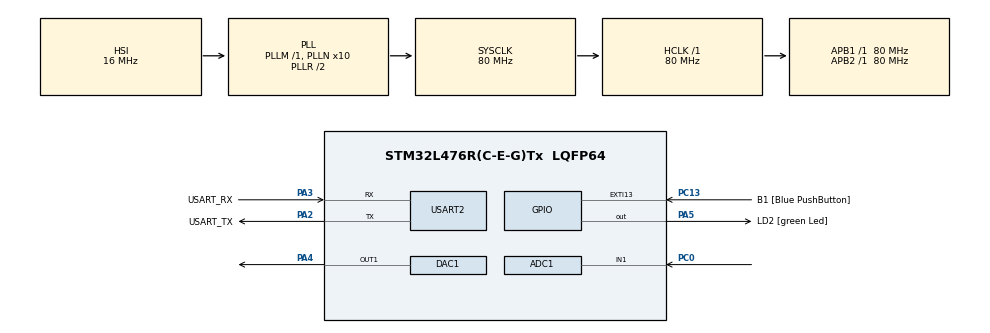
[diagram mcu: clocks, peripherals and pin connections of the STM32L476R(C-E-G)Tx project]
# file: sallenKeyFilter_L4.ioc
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ADC1.Channel-0\#ChannelRegularConversion=ADC_CHANNEL_1
ADC1.NbrOfConversion=1
ADC1.NbrOfConversionFlag=1
ADC1.OffsetNumber-0\#ChannelRegularConversion=ADC_OFFSET_NONE
ADC1.Rank-0\#ChannelRegularConversion=1
ADC1.SamplingTime-0\#ChannelRegularConversion=ADC_SAMPLETIME_2CYCLES_5
ADC1.master=1
Mcu.Family=STM32L4
Mcu.Name=STM32L476R(C-E-G)Tx
Mcu.Package=LQFP64
NVIC.ADC1_2_IRQn=true\:0\:0\:false\:false\:true\:true\:true\:true
NVIC.PriorityGroup=NVIC_PRIORITYGROUP_4
NVIC.TIM3_IRQn=true\:0\:0\:false\:false\:true\:true\:true\:true
NVIC.USART2_IRQn=true\:0\:0\:false\:false\:true\:true\:true\:true
PA13\ (JTMS-SWDIO).GPIO_Label=TMS
PA13\ (JTMS-SWDIO).Mode=Serial_Wire
PA13\ (JTMS-SWDIO).Signal=SYS_JTMS-SWDIO
PA14\ (JTCK-SWCLK).GPIO_Label=TCK
PA14\ (JTCK-SWCLK).Mode=Serial_Wire
PA14\ (JTCK-SWCLK).Signal=SYS_JTCK-SWCLK
PA2.GPIO_Label=USART_TX
PA2.GPIO_Mode=GPIO_MODE_AF_PP
PA2.GPIO_PuPd=GPIO_NOPULL
PA2.GPIO_Speed=GPIO_SPEED_FREQ_VERY_HIGH
PA2.Mode=Asynchronous
PA2.Signal=USART2_TX
PA3.GPIO_Label=USART_RX
PA3.GPIO_Mode=GPIO_MODE_AF_PP
PA3.GPIO_PuPd=GPIO_NOPULL
PA3.GPIO_Speed=GPIO_SPEED_FREQ_VERY_HIGH
PA3.Mode=Asynchronous
PA3.Signal=USART2_RX
PA4.Signal=COMP_DAC11_group
PA5.GPIO_Label=LD2 [green Led]
PA5.GPIO_ModeDefaultOutputPP=GPIO_MODE_OUTPUT_PP
PA5.GPIO_PuPd=GPIO_NOPULL
PA5.GPIO_Speed=GPIO_SPEED_FREQ_LOW
PA5.Signal=GPIO_Output
PB3\ (JTDO-TRACESWO).GPIO_Label=SWO
PB3\ (JTDO-TRACESWO).Signal=SYS_JTDO-SWO
PC0.Signal=ADCx_IN1
PC13.GPIO_Label=B1 [Blue PushButton]
PC13.GPIO_ModeDefaultEXTI=GPIO_MODE_IT_FALLING
PC13.GPIO_PuPd=GPIO_NOPULL
PC13.Signal=GPXTI13
PC14-OSC32_IN\ (PC14).Mode=LSE-External-Oscillator
PC14-OSC32_IN\ (PC14).Signal=RCC_OSC32_IN
PC15-OSC32_OUT\ (PC15).Mode=LSE-External-Oscillator
PC15-OSC32_OUT\ (PC15).Signal=RCC_OSC32_OUT
PH0-OSC_IN\ (PH0).Signal=RCC_OSC_IN
PH1-OSC_OUT\ (PH1).Signal=RCC_OSC_OUT
ProjectManager.HeapSize=0x200
ProjectManager.StackSize=0x400
ProjectManager.TargetToolchain=STM32CubeIDE
RCC.ADCFreq_Value=64000000
RCC.AHBFreq_Value=80000000
RCC.APB1Freq_Value=80000000
RCC.APB1TimFreq_Value=80000000
RCC.APB2Freq_Value=80000000
RCC.APB2TimFreq_Value=80000000
RCC.CortexFreq_Value=80000000
RCC.HCLKFreq_Value=80000000
RCC.HSE_VALUE=8000000
RCC.HSI_VALUE=16000000
RCC.MSI_VALUE=4000000
RCC.PLLN=10
RCC.PLLSourceVirtual=RCC_PLLSOURCE_HSI
RCC.PREFETCH_ENABLE=1
RCC.SYSCLKFreq_VALUE=80000000
RCC.SYSCLKSource=RCC_SYSCLKSOURCE_PLLCLK
RCC.USBFreq_Value=64000000
RCC.VCOOutputFreq_Value=160000000
SH.ADCx_IN1.0=ADC1_IN1,IN1-Single-Ended
SH.COMP_DAC11_group.0=DAC1_OUT1,DAC_OUT1
TIM3.Channel-Output\ Compare1\ No\ Output=TIM_CHANNEL_1
USART2.VirtualMode-Asynchronous=VM_ASYNC
VP_TIM3_VS_no_output1.Mode=Output Compare1 No Output
board=NUCLEO-L476RG

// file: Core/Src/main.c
/* USER CODE BEGIN Header */
/**
 ******************************************************************************
 * @file           : main.c
 * @brief          : Main program body
 ******************************************************************************
 * @attention
 *
 * Copyright (c) 2023 STMicroelectronics.
 * All rights reserved.
 *
 * This software is licensed under terms that can be found in the LICENSE file
 * in the root directory of this software component.
 * If no LICENSE file comes with this software, it is provided AS-IS.
 *
 ******************************************************************************
 */
/* USER CODE END Header */
#include "main.h"
#include "math.h"
#include "string.h"
#include "stdio.h"
#include "arm_math.h"
#include "arm_const_structs.h"

ADC_HandleTypeDef hadc1;

DAC_HandleTypeDef hdac1;

TIM_HandleTypeDef htim3;

UART_HandleTypeDef huart2;

void SystemClock_Config(void);
static void MX_GPIO_Init(void);
static void MX_USART2_UART_Init(void);
static void MX_ADC1_Init(void);
static void MX_DAC1_Init(void);
static void MX_TIM3_Init(void);

/* USER CODE BEGIN 0 */

/*------------------------------------------------------------------------------

	N (Bins) = FFT Size/2

    FR = Fmax/N(Bins)

	For a 44100 sampling rate, we have a 22050 Hz band. With a 1024 FFT size,
	we divide this band into 512 bins.

	FR = 22050/1024 ≃ 21,53 Hz.
 -------------------------------------------------------------------------------*/

// Private define --------------------------------------------------------------
#define SAMPLE_SIZE 2048 // Tamanho da amostra do sinal (potência de 2)
#define FFT_SIZE (SAMPLE_SIZE / 2) // Tamanho da FFT. N_BINS
#define HANNING_COEFF		0.5f
#define HANN_KF_ACC			(2 * PI / (FFT_SIZE - 1))
#define FS 40000.0f						// Frequẽncia de amostragem
#define FC 15000.0f						// Frequeência de corte

// Private variables -----------------------------------------------------------
float32_t input_signal[SAMPLE_SIZE];	//sinal de entrada lido pelo AD
float32_t output_signal[FFT_SIZE];		//Sinal de saída da FFT
float32_t fft_power[FFT_SIZE];			// Valor absoluto da FFT
uint32_t ifftFlag = 0; 					// 0 Real FFT RFFT; 1 Real Inversa RIFFT
uint32_t doBitReverse = 1;
arm_rfft_fast_instance_f32 fft;

arm_cfft_radix4_instance_f32 S;	/* ARM CFFT module */

/* Reference index at which max energy of bin ocuurs */
uint32_t testIndex = 0;					// Index de posição do BIN de máxima energia
float32_t maxValue;						// Valor do BIN de máxima energia

volatile uint32_t g_ADCValue, g_DACValue;	// Váriaveis de armazenamento dos valores do ADC DAC
char buffer[10];							// Buffer de recepção da UART

/* Variáveis para aplicação do filtro SallenKey Segundo Ordem*/
float tanres = 0;
float32_t C = 0;
float32_t zeta = 0;
float32_t b0 = 0;
float32_t b1 = 0;
float32_t b2 = 0;
float32_t a0 = 0;
float32_t a1 = 0;
float32_t a2 = 0;
float32_t xh1 = 0;
float32_t xh2 = 0;
float32_t yh1 = 0;
float32_t yh2 = 0;
float32_t x,y = {0};

// Private function prototypes -------------------------------------------------
float HanningWindow(uint32_t u32Sample);
void FFTCalc(void);

/* USER CODE END 0 */

int main(void)
{

	/* MCU Configuration--------------------------------------------------------*/

	/* Reset of all peripherals, Initializes the Flash interface and the Systick. */
	HAL_Init();

	/* Configure the system clock */
	SystemClock_Config();

	/* Initialize all configured peripherals */
	MX_GPIO_Init();

	MX_ADC1_Init();
	MX_DAC1_Init();
	MX_TIM3_Init();
	MX_USART2_UART_Init();
	/* USER CODE BEGIN 2 */

	tanres = tanf(M_PI  * FC / FS);

	C = 1/tanres;
	zeta = 0.707;

	b0 = 1/(1+2*zeta*C+C*C);
	b1 = 2*b0;
	b2 = b0;

	a0 = 1;
	a1 = 2*b0*(1-C*C);
	a2 = b0 * (1-2*zeta*C+C*C);

	xh1 = 0;
	xh2 = 0;
	yh1 = 0;
	yh2 = 0;

	//	arm_rfft_fast_init_f32(&fft, SAMPLE_SIZE);

	HAL_UART_Receive_IT(&huart2, (uint8_t*)buffer, 1);  //Inicia o recebimento da UART
	HAL_TIM_Base_Start_IT(&htim3);						//Inicia o timer
	HAL_DAC_Start(&hdac1, DAC_CHANNEL_1);				//Inicia o DAC
	/* USER CODE END 2 */

	/* Infinite loop */
	while (1)
	{
	}
}

void SystemClock_Config(void)
{
	RCC_OscInitTypeDef RCC_OscInitStruct = {0};
	RCC_ClkInitTypeDef RCC_ClkInitStruct = {0};

	/** Configure the main internal regulator output voltage
	 */
	if (HAL_PWREx_ControlVoltageScaling(PWR_REGULATOR_VOLTAGE_SCALE1) != HAL_OK)
	{
		Error_Handler();
	}

	/** Initializes the RCC Oscillators according to the specified parameters
	 * in the RCC_OscInitTypeDef structure.
	 */
	RCC_OscInitStruct.OscillatorType = RCC_OSCILLATORTYPE_HSI;
	RCC_OscInitStruct.HSIState = RCC_HSI_ON;
	RCC_OscInitStruct.HSICalibrationValue = RCC_HSICALIBRATION_DEFAULT;
	RCC_OscInitStruct.PLL.PLLState = RCC_PLL_ON;
	RCC_OscInitStruct.PLL.PLLSource = RCC_PLLSOURCE_HSI;
	RCC_OscInitStruct.PLL.PLLM = 1;
	RCC_OscInitStruct.PLL.PLLN = 10;
	RCC_OscInitStruct.PLL.PLLP = RCC_PLLP_DIV7;
	RCC_OscInitStruct.PLL.PLLQ = RCC_PLLQ_DIV2;
	RCC_OscInitStruct.PLL.PLLR = RCC_PLLR_DIV2;
	if (HAL_RCC_OscConfig(&RCC_OscInitStruct) != HAL_OK)
	{
		Error_Handler();
	}

	/** Initializes the CPU, AHB and APB buses clocks
	 */
	RCC_ClkInitStruct.ClockType = RCC_CLOCKTYPE_HCLK|RCC_CLOCKTYPE_SYSCLK
			|RCC_CLOCKTYPE_PCLK1|RCC_CLOCKTYPE_PCLK2;
	RCC_ClkInitStruct.SYSCLKSource = RCC_SYSCLKSOURCE_PLLCLK;
	RCC_ClkInitStruct.AHBCLKDivider = RCC_SYSCLK_DIV1;
	RCC_ClkInitStruct.APB1CLKDivider = RCC_HCLK_DIV1;
	RCC_ClkInitStruct.APB2CLKDivider = RCC_HCLK_DIV1;

	if (HAL_RCC_ClockConfig(&RCC_ClkInitStruct, FLASH_LATENCY_4) != HAL_OK)
	{
		Error_Handler();
	}
}

static void MX_ADC1_Init(void)
{

	ADC_MultiModeTypeDef multimode = {0};
	ADC_ChannelConfTypeDef sConfig = {0};

	/** Common config
	 */
	hadc1.Instance = ADC1;
	hadc1.Init.ClockPrescaler = ADC_CLOCK_ASYNC_DIV1;
	hadc1.Init.Resolution = ADC_RESOLUTION_12B;
	hadc1.Init.DataAlign = ADC_DATAALIGN_RIGHT;
	hadc1.Init.ScanConvMode = ADC_SCAN_DISABLE;
	hadc1.Init.EOCSelection = ADC_EOC_SINGLE_CONV;
	hadc1.Init.LowPowerAutoWait = DISABLE;
	hadc1.Init.ContinuousConvMode = DISABLE;
	hadc1.Init.NbrOfConversion = 1;
	hadc1.Init.DiscontinuousConvMode = DISABLE;
	hadc1.Init.ExternalTrigConv = ADC_SOFTWARE_START;
	hadc1.Init.ExternalTrigConvEdge = ADC_EXTERNALTRIGCONVEDGE_NONE;
	hadc1.Init.DMAContinuousRequests = DISABLE;
	hadc1.Init.Overrun = ADC_OVR_DATA_PRESERVED;
	hadc1.Init.OversamplingMode = DISABLE;
	if (HAL_ADC_Init(&hadc1) != HAL_OK)
	{
		Error_Handler();
	}

	/** Configure the ADC multi-mode
	 */
	multimode.Mode = ADC_MODE_INDEPENDENT;
	if (HAL_ADCEx_MultiModeConfigChannel(&hadc1, &multimode) != HAL_OK)
	{
		Error_Handler();
	}

	/** Configure Regular Channel
	 */
	sConfig.Channel = ADC_CHANNEL_1;
	sConfig.Rank = ADC_REGULAR_RANK_1;
	sConfig.SamplingTime = ADC_SAMPLETIME_2CYCLES_5;
	sConfig.SingleDiff = ADC_SINGLE_ENDED;
	sConfig.OffsetNumber = ADC_OFFSET_NONE;
	sConfig.Offset = 0;
	if (HAL_ADC_ConfigChannel(&hadc1, &sConfig) != HAL_OK)
	{
		Error_Handler();
	}

}

static void MX_DAC1_Init(void)
{

	DAC_ChannelConfTypeDef sConfig = {0};

	/** DAC Initialization
	 */
	hdac1.Instance = DAC1;
	if (HAL_DAC_Init(&hdac1) != HAL_OK)
	{
		Error_Handler();
	}

	/** DAC channel OUT1 config
	 */
	sConfig.DAC_SampleAndHold = DAC_SAMPLEANDHOLD_DISABLE;
	sConfig.DAC_Trigger = DAC_TRIGGER_NONE;
	sConfig.DAC_OutputBuffer = DAC_OUTPUTBUFFER_ENABLE;
	sConfig.DAC_ConnectOnChipPeripheral = DAC_CHIPCONNECT_DISABLE;
	sConfig.DAC_UserTrimming = DAC_TRIMMING_FACTORY;
	if (HAL_DAC_ConfigChannel(&hdac1, &sConfig, DAC_CHANNEL_1) != HAL_OK)
	{
		Error_Handler();
	}

}

static void MX_TIM3_Init(void)
{

	TIM_MasterConfigTypeDef sMasterConfig = {0};
	TIM_OC_InitTypeDef sConfigOC = {0};

	/* USER CODE BEGIN TIM3_Init 1 */
	uint32_t uwTimclock = 0;
	uint32_t uwPrescalerValue = 0;
	uint32_t periodValue = 0;

	/* Compute TIM1 clock */
	uwTimclock = HAL_RCC_GetPCLK2Freq();

	/* Compute the prescaler value to have TIM1 counter clock equal to 1MHz */
	uwPrescalerValue = (uint32_t) ((uwTimclock / 1000000) - 1);
	periodValue = (uint32_t) ((1000000 / FS) - 1);

	/* USER CODE END TIM3_Init 1 */
	htim3.Instance = TIM3;
	htim3.Init.Prescaler = uwPrescalerValue;
	htim3.Init.CounterMode = TIM_COUNTERMODE_UP;
	htim3.Init.Period = periodValue;
	htim3.Init.ClockDivision = TIM_CLOCKDIVISION_DIV1;
	htim3.Init.AutoReloadPreload = TIM_AUTORELOAD_PRELOAD_DISABLE;
	if (HAL_TIM_OC_Init(&htim3) != HAL_OK)
	{
		Error_Handler();
	}
	sMasterConfig.MasterOutputTrigger = TIM_TRGO_RESET;
	sMasterConfig.MasterSlaveMode = TIM_MASTERSLAVEMODE_DISABLE;
	if (HAL_TIMEx_MasterConfigSynchronization(&htim3, &sMasterConfig) != HAL_OK)
	{
		Error_Handler();
	}
	sConfigOC.OCMode = TIM_OCMODE_TIMING;
	sConfigOC.Pulse = 0;
	sConfigOC.OCPolarity = TIM_OCPOLARITY_HIGH;
	sConfigOC.OCFastMode = TIM_OCFAST_DISABLE;
	if (HAL_TIM_OC_ConfigChannel(&htim3, &sConfigOC, TIM_CHANNEL_1) != HAL_OK)
	{
		Error_Handler();
	}

}

static void MX_USART2_UART_Init(void)
{

	huart2.Instance = USART2;
	huart2.Init.BaudRate = 115200;
	huart2.Init.WordLength = UART_WORDLENGTH_8B;
	huart2.Init.StopBits = UART_STOPBITS_1;
	huart2.Init.Parity = UART_PARITY_NONE;
	huart2.Init.Mode = UART_MODE_TX_RX;
	huart2.Init.HwFlowCtl = UART_HWCONTROL_NONE;
	huart2.Init.OverSampling = UART_OVERSAMPLING_16;
	huart2.Init.OneBitSampling = UART_ONE_BIT_SAMPLE_DISABLE;
	huart2.AdvancedInit.AdvFeatureInit = UART_ADVFEATURE_NO_INIT;
	if (HAL_UART_Init(&huart2) != HAL_OK)
	{
		Error_Handler();
	}

}

static void MX_GPIO_Init(void)
{
	GPIO_InitTypeDef GPIO_InitStruct = {0};

	/* GPIO Ports Clock Enable */
	__HAL_RCC_GPIOC_CLK_ENABLE();
	__HAL_RCC_GPIOH_CLK_ENABLE();
	__HAL_RCC_GPIOA_CLK_ENABLE();
	__HAL_RCC_GPIOB_CLK_ENABLE();

	/*Configure GPIO pin Output Level */
	HAL_GPIO_WritePin(LD2_GPIO_Port, LD2_Pin, GPIO_PIN_RESET);

	/*Configure GPIO pin : B1_Pin */
	GPIO_InitStruct.Pin = B1_Pin;
	GPIO_InitStruct.Mode = GPIO_MODE_IT_FALLING;
	GPIO_InitStruct.Pull = GPIO_NOPULL;
	HAL_GPIO_Init(B1_GPIO_Port, &GPIO_InitStruct);

	/*Configure GPIO pin : LD2_Pin */
	GPIO_InitStruct.Pin = LD2_Pin;
	GPIO_InitStruct.Mode = GPIO_MODE_OUTPUT_PP;
	GPIO_InitStruct.Pull = GPIO_NOPULL;
	GPIO_InitStruct.Speed = GPIO_SPEED_FREQ_LOW;
	HAL_GPIO_Init(LD2_GPIO_Port, &GPIO_InitStruct);

}

/* USER CODE BEGIN 4 */
void HAL_TIM_PeriodElapsedCallback(TIM_HandleTypeDef *htim)
{
	HAL_ADC_Start_IT(&hadc1);
}
void HAL_ADC_ConvCpltCallback(ADC_HandleTypeDef* hadc)
{
	HAL_GPIO_TogglePin(GPIOA, GPIO_PIN_5);
	g_ADCValue = HAL_ADC_GetValue(&hadc1);
	x = g_ADCValue;

	y = b0 * x + b1 * xh1 + b2 * xh2 - a1 * yh1 - a2 * yh2;
	yh2 = yh1;
	yh1 = y;
	xh2 = xh1;
	xh1 = x;

	HAL_DAC_SetValue(&hdac1, DAC_CHANNEL_1,DAC_ALIGN_12B_R,(uint16_t)y);

	//Converter o valor para ponto flutuante e normalizar para [-1, 1]
	float32_t sample = ((float32_t)g_ADCValue * (3.3f/4096.0f)) - 1.5f; //variação de -1.5V até + 1,5V

	// Adicionar a amostra ao vetor de entrada
	static uint16_t index = 0;
	input_signal[index] = sample;
	index++;
	//Se o vetor de entrada estiver completo, zera o index
	if (index >= SAMPLE_SIZE)
		index = 0;
}
// *****************************************************************************
/// @brief		Janela de Hanning
/// @fn			float HanningWindow(u32 u32Sample)
/// @param[in]	u32Sample			@brief Amostra
/// @retval		Amostra corrigida
// *****************************************************************************
float HanningWindow(uint32_t u32Sample)
{
	return (HANNING_COEFF * (1.0f - arm_cos_f32(HANN_KF_ACC * u32Sample)));
}
// *****************************************************************************
/// @brief		Calculo da FFT
/// @fn			void FFTCalc(void)
/// @param[in]
/// @retval
// *****************************************************************************
void FFTCalc(void)
{
//	for (int n = 0; n < SAMPLE_SIZE; n += 2)
//		input_signal[n] *= HanningWindow(n);

	/* Initialize the CFFT/CIFFT module, intFlag = 0, doBitReverse = 1 */
	arm_cfft_radix4_init_f32(&S, FFT_SIZE, 0, 1);

	/* Process the data through the CFFT/CIFFT module */
	arm_cfft_radix4_f32(&S, input_signal);

	/* Process the data through the Complex Magniture Module for calculating the magnitude at each bin */
	arm_cmplx_mag_f32(input_signal, fft_power, FFT_SIZE);

	/* Calculates maxValue and returns corresponding value */
	arm_max_f32(fft_power, FFT_SIZE, &maxValue, &testIndex);

//	arm_rfft_fast_init_f32(&fft, FFT_SIZE);
//	arm_rfft_fast_f32(&fft, input_signal, output_signal, ifftFlag);
//	arm_cmplx_mag_f32(output_signal, fft_power, FFT_SIZE);
//	/* Calculates maxValue and returns corresponding BIN value */
//		arm_max_f32(output_signal, FFT_SIZE, &maxValue, &testIndex);
}
void HAL_UART_RxCpltCallback(UART_HandleTypeDef *huart)
{

	if(huart->Instance == USART2)
	{
		int i;
		uint8_t u8data[10];
		uint8_t u8size = 0;
		if(buffer[0]== 'I')
		{
			for(i = 0; i < SAMPLE_SIZE - 1; i++ )
			{
				u8size = sprintf((char*)u8data,"%.4f, ",input_signal[i]);
				HAL_UART_Transmit(&huart2, u8data, u8size,10);
			}
			u8size = sprintf((char*)u8data,"%.4f",input_signal[i]);
			HAL_UART_Transmit(&huart2, u8data, u8size,10);
			HAL_UART_Transmit(&huart2, (uint8_t*)"\r\n", 2,10);
		}
		else if (buffer[0]== 'O')
		{
			FFTCalc();
			for(i = 0; i < FFT_SIZE - 1; i++ )
			{
				u8size = sprintf((char*)u8data,"%.4f, ",fft_power[i]);
				HAL_UART_Transmit(&huart2, u8data, u8size,10);
			}
			u8size = sprintf((char*)u8data,"%.4f",fft_power[i]);
			HAL_UART_Transmit(&huart2, u8data, u8size,10);
			HAL_UART_Transmit(&huart2, (uint8_t*)"\r\n", 2,10);
		}
		else if (buffer[0]== 'C')
		{
			u8size = sprintf((char*)u8data,"%ld\r\n",(uint32_t)FC);
			HAL_UART_Transmit(&huart2, u8data, u8size,10);
		}
		else if (buffer[0]== 'S')
		{
			u8size = sprintf((char*)u8data,"%ld\r\n",(uint32_t)FS);
			HAL_UART_Transmit(&huart2, u8data, u8size,10);
		}
		memset(buffer,0x00,sizeof(buffer));
		HAL_UART_Receive_IT(&huart2, (uint8_t*)buffer, 1);
	}
}
void HAL_UART_ErrorCallback(UART_HandleTypeDef *huart)
{
	HAL_UART_Receive_IT(&huart2, (uint8_t*)buffer, 1);
}
/* USER CODE END 4 */

void Error_Handler(void)
{
	__disable_irq();
	while (1)
	{
	}
}
